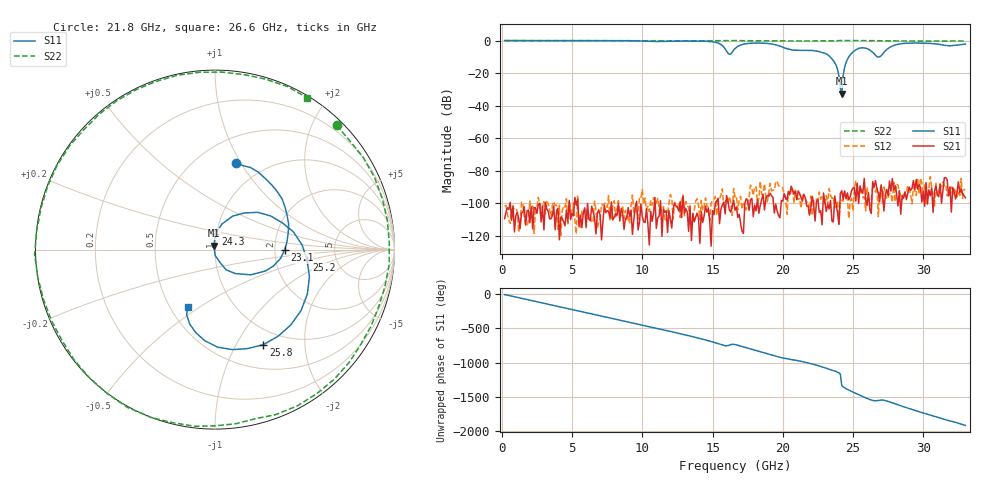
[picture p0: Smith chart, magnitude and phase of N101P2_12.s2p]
# GHZ S RI R 50
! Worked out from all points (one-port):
!   329 points, 200 MHz to 33 GHz, reference 50 ohm
!   lowest |S11| = -32.6 dB at 24.2 GHz (marker M1), VSWR 1.05, Z = 49.3 + j2.23 ohm
!   |S11| at or under -10 dB: 23.36 GHz to 24.7 GHz (1.338 GHz wide, 5.57 % of centre); 26.75368 GHz to 26.87403 GHz (120.3 MHz wide, 0.449 % of centre)
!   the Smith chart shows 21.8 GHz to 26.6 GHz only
!   S11 on the Smith chart (normalised r, x): 21.8 GHz: 0.75, +0.96; 23.1 GHz: 2.27, -0.01; 24.3 GHz: 0.99, +0.17; 25.2 GHz: 3.05, -0.49; 25.8 GHz: 0.80, -1.30; 26.6 GHz: 0.62, -0.45
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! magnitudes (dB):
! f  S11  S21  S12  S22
! 200 MHz  0.0  -109.3  -101.8  0.0
! 5.7 GHz  0.0  -114.9  -104.7  0.0
! 11.2 GHz  -0.6  -107.9  -103.6  -0.2
! 15.2 GHz  -1.1  -100.0  -95.7  -0.1
! 16.2 GHz  -8.5  -104.1  -95.8  -0.1
! 16.6 GHz  -5.0  -104.2  -96.4  0.0
! 18.4 GHz  -1.6  -101.2  -86.4  -0.2
! 21.8 GHz  -6.1  -101.6  -99.1  -0.3
! 22.1 GHz  -6.1  -95.6  -107.4  -0.2
! 23.1 GHz  -8.2  -105.0  -95.2  -0.2
! 23.8 GHz  -15.1  -100.7  -102.0  -0.1
! 24 GHz  -21.9  -112.9  -113.4  0.0
! 24.2 GHz  -32.6  -92.2  -97.9  0.0
! 24.3 GHz  -21.3  -97.4  -98.7  0.0
! 24.6 GHz  -11.7  -93.5  -96.5  -0.1
! 25.2 GHz  -5.7  -98.5  -86.3  0.0
! 25.8 GHz  -4.5  -84.6  -96.0  -0.1
! 26.6 GHz  -9.1  -86.0  -93.0  -0.1
! 26.9 GHz  -10.0  -98.8  -91.7  -0.1
! 27.6 GHz  -4.3  -86.3  -93.8  -0.2
! 28.9 GHz  -1.6  -94.0  -89.1  -0.2
! 33 GHz  -2.3  -96.6  -91.5  -0.3
